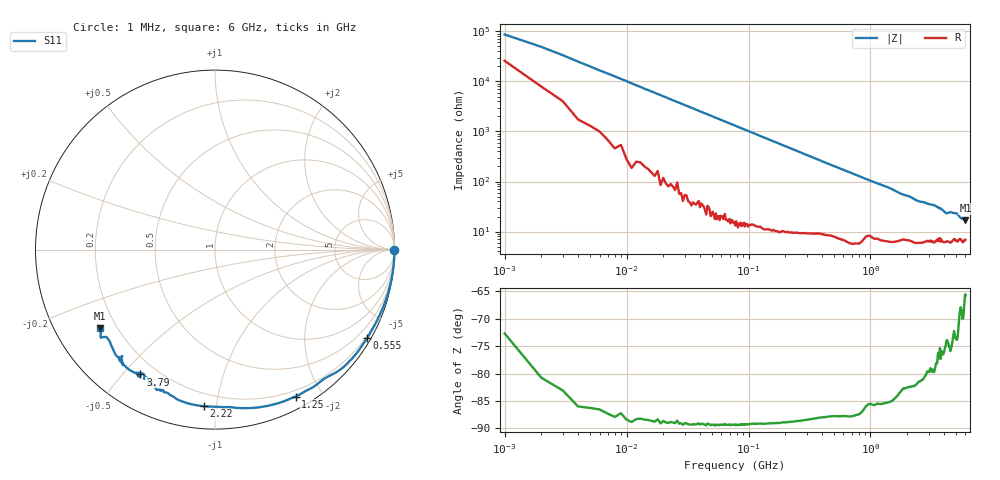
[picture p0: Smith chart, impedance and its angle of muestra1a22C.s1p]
! COPPER MOUNTAIN TECHNOLOGIES, R60, 23103002, 24.3.3/3.0
! Date: 23/10/2026 12:05:45
! Data: Format [Calibration Info]
! Frequency		S11: Re/Im RO
# HZ S RI R 50
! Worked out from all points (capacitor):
!   1280 points, 1 MHz to 6 GHz, reference 50 ohm
!   read as one part to ground: C = 1.58 pF near 7 MHz
!   lowest |Z| = 16.7 ohm at 6 GHz (marker M1)
!   S11 on the Smith chart (normalised r, x): 1 MHz: open; 555 MHz: 0.14, -3.70; 1.25 GHz: 0.13, -1.68; 2.22 GHz: 0.12, -0.92; 3.79 GHz: 0.14, -0.56; 6 GHz: 0.14, -0.30
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1000000  0.9997 -0.0011
2.5e8  0.9647 -0.2409
5.55e8  0.8477 -0.493
7.55e8  0.747 -0.6239
8.75e8  0.6669 -0.6885
1.25e9  0.4486 -0.8187
1.505e9  0.3035 -0.8684
1.78e9  0.1147 -0.8813
2.085e9  0.00472 -0.8756
2.22e9  -0.0638 -0.8721
2.255e9  -0.0841 -0.8701
2.465e9  -0.1791 -0.8466
2.75e9  -0.2217 -0.8261
3.005e9  -0.2842 -0.7936
3.335e9  -0.3261 -0.7797
3.58e9  -0.3824 -0.7128
3.68e9  -0.3921 -0.7031
3.755e9  -0.4298 -0.7027
3.79e9  -0.416 -0.6955
4.155e9  -0.5324 -0.6147
4.265e9  -0.5303 -0.6087
4.505e9  -0.5147 -0.6415
4.82e9  -0.5185 -0.5951
5.12e9  -0.5385 -0.6008
5.255e9  -0.5677 -0.5558
5.47e9  -0.601 -0.492
5.745e9  -0.6372 -0.4863
6e9  -0.6414 -0.439
